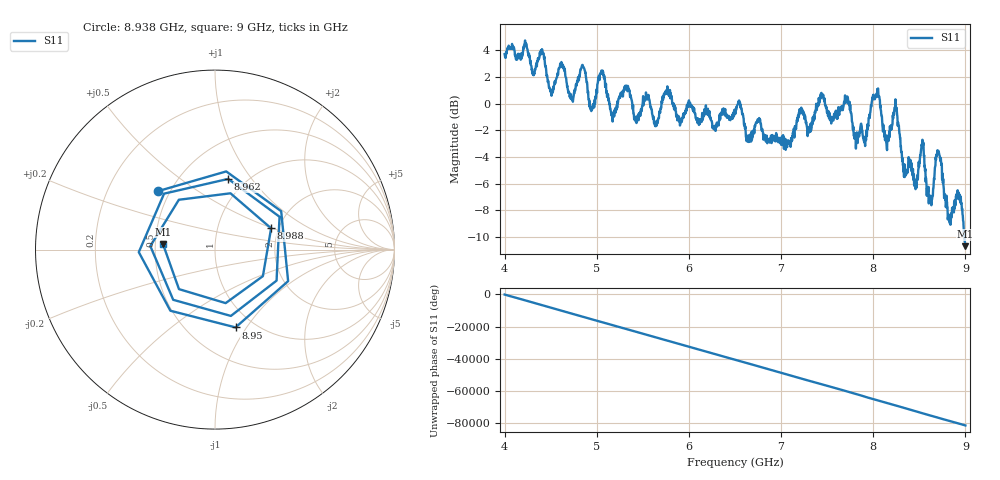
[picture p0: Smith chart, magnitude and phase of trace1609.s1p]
! Created with skrf 1.8.0 (http://scikit-rf.org).
# Hz S RI R 50.0
!freq ReS11 ImS11
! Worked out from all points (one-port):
!   1601 points, 4 GHz to 9 GHz, reference 50 ohm
!   lowest |S11| = -10.7 dB at 9 GHz (marker M1), VSWR 1.82, Z = 27.5 + j1.91 ohm
!   |S11| at or under -10 dB: 8.989827 GHz to end of sweep
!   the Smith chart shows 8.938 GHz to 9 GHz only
!   S11 on the Smith chart (normalised r, x): 8.938 GHz: 0.43, +0.35; 8.95 GHz: 0.82, -0.89; 8.962 GHz: 0.83, +0.78; 8.988 GHz: 1.83, +0.49; 9 GHz: 0.55, +0.04
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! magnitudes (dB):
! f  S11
! 4 GHz  3.7
! 4.406 GHz  4.1
! 4.506 GHz  0.7
! 4.625 GHz  2.8
! 4.725 GHz  0.3
! 4.847 GHz  2.9
! 4.944 GHz  -0.4
! 5.047 GHz  2.3
! 5.25 GHz  0.6
! 5.875 GHz  -1.3
! 6.5 GHz  -0.5
! 7.125 GHz  -2.5
! 7.434 GHz  0.6
! 7.75 GHz  -0.1
! 7.909 GHz  -2.9
! 8.047 GHz  0.7
! 8.147 GHz  -3.3
! 8.238 GHz  -0.5
! 8.375 GHz  -5.0
! 8.531 GHz  -3.0
! 8.628 GHz  -7.4
! 8.709 GHz  -3.5
! 8.828 GHz  -8.7
! 8.938 GHz  -6.8
! 8.95 GHz  -7.0
! 8.962 GHz  -7.9
! 8.988 GHz  -9.5
! 9 GHz  -10.7
